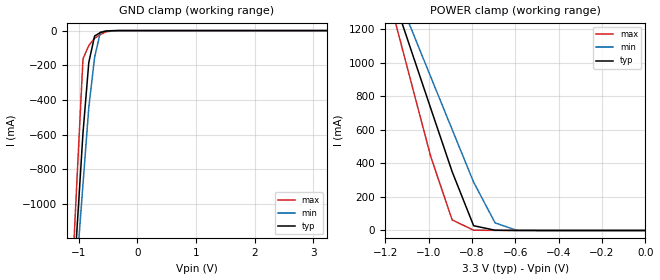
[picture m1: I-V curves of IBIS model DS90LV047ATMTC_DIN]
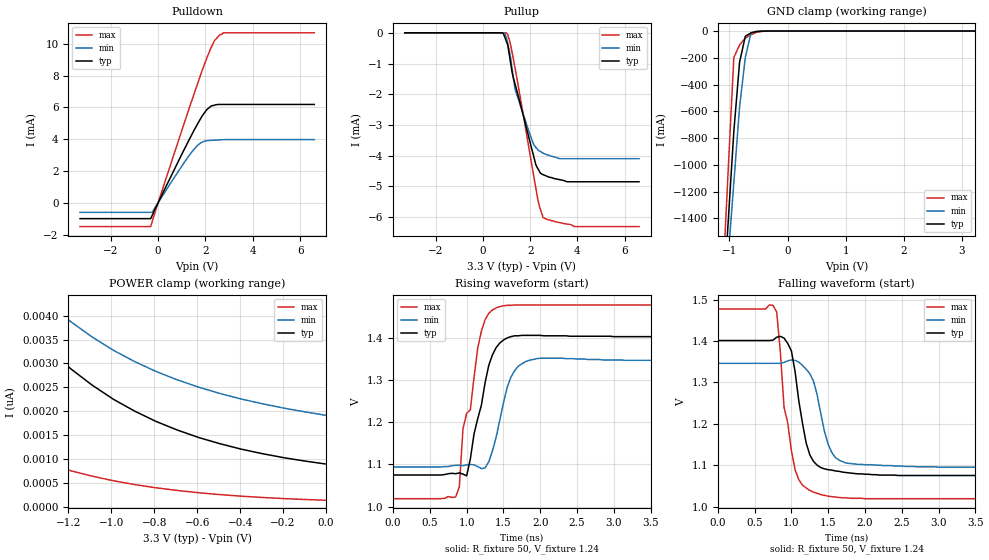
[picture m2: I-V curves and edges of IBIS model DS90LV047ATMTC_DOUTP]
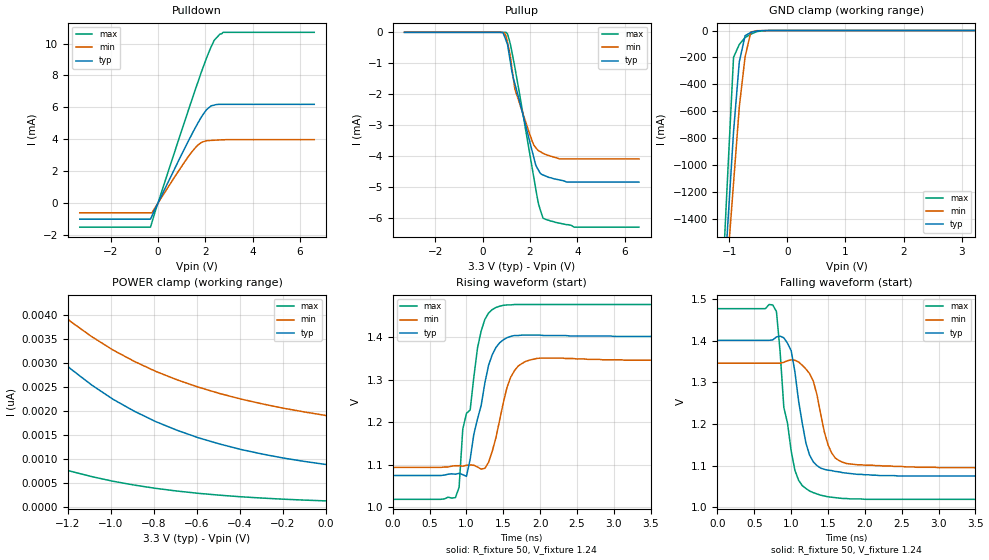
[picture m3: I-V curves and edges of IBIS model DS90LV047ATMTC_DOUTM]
|   National Semiconductor Corporation
|   Interface Products Group
|   IBIS Model of DS90LV047ATMTC
|   16L TSSOP Package
[IBIS Ver]   3.2
[File name]   ds90lv047atmtc.ibs
[File Rev]   1.2
[Date]   7/06/04
[Source]   File originated at National Semiconductor Corporation.
   Interface Group/Analog Division. All data based on
   Empirical Measurements(Bench).
[Notes]   File created by DAK.
   Rev 1.1: In Rising Falling Tables, changes Vref
   from 3.3v to 1.2v---milt
   Rev 1.2: a new model based on a spice model simulation
   data - dglisic
[Disclaimer]
(C) Copyright National Semiconductor Corporation 1994
                All rights reserved
     National Semiconductor Corporation hereby grants
the user of this IBIS model a non-exclusive, nontransferable
license to use this IBIS model under the following terms.
Before using this IBIS model, the user should read this
license.  If the user does not accept these terms,  the
IBIS model should be returned to National within 30 days.
     The user is granted this license only to use the
IBIS model and is not granted rights to sell, load, rent,
lease or license the IBIS model in whole or in part, or in
modified form to anyone other than user. User may modify
the IBIS model to suit its specific applications but rights
to derivative works and such modifications shall belong to
National.
     This IBIS model is provided on an "AS IS" basis and
National makes absolutely no warranty with respect to the
information contained herein.NATIONAL DISCLAIMS AND CUSTOMER
WAIVES ALL WARRANTIES, EXPRESS OR IMPLIED, INCLUDING
WARRANTIES OF MERCHANTABILITY OR FITNESS FOR A PARTICULAR
PURPOSE. The entire risk as to quality and performance is
with the Customer. ACCORDINGLY, IN NO EVENT SHALL THE
COMPANY BE LIABLE FOR ANY DAMAGES, WHETHER IN CONTRACT OR
TORT,INCLUDING ANY LOST PROFITS OR OTHER INCIDENTAL,
CONSEQUENTIAL, EXEMPLARY, OR PUNITIVE DAMAGES ARISING OUT
OF THE USE OR APPLICATION OF THE IBIS model provided in
this package.Further, National reserves the right to make
changes without notice to any product herein to improve
reliability, function, or design. National does not convey
any license under patent rights or any other intellectual
property rights, including those of third parties.
     National is not obligated to provide maintenance or support
for the licensed IBIS model.
Contact National at ATTN:INTERFACE APPLICATIONS/IBIS MODELS
                        5 Foden Road, M/S 03-03
                        South Porltand, ME 04106
                        (207) 541-6031
[Copyright]   Copyright 1994, National Semiconductor, All Rights Reserved
[Component]   DS90LV047ATMTC
[Manufacturer]  National Semiconductor Corp
[Package]
|   typ   min   max
R_pkg   91m   78m   115m
L_pkg   2.49n   2.15n   3.12n
C_pkg   0.086p   0.076p   0.109p
[Pin]   signal_name   model_name   R_pin   L_pin   C_pin
1   EN   DS90LV047ATMTC_EN   113m   3.053n   .108p
2   DIN1   DS90LV047ATMTC_DIN   91m   2.494n   .083p
3   DIN2   DS90LV047ATMTC_DIN   80m   2.218n   .079p
4   VDD   POWER   78m   2.157n   .076p
5   GND   GND   79m   2.183n   .077p
6   DIN3   DS90LV047ATMTC_DIN   84m   2.318n   .078p
7   DIN4   DS90LV047ATMTC_DIN   93m   2.550n   .083p
8   EN*   DS90LV047ATMTC_EN   108m   2.984n   .107p
9   DOUT4-   DS90LV047ATMTC_DOUTM  115m   3.121n   .109p
10   DOUT4+   DS90LV047ATMTC_DOUTP   93m   2.551n   .083p
11   DOUT3+   DS90LV047ATMTC_DOUTP   81m   2.237n   .079p
12   DOUT3-   DS90LV047ATMTC_DOUTM   78m   2.152n   .076p
13   DOUT2-   DS90LV047ATMTC_DOUTM   79m   2.173n   .076p
14   DOUT2+   DS90LV047ATMTC_DOUTP   83m   2.291n   .078p
15   DOUT1+   DS90LV047ATMTC_DOUTP   90m   2.480n   .083p
16   DOUT1-   DS90LV047ATMTC_DOUTM  106m   2.914n   .106p
[Diff_pin]   inv_pin   vdiff   tdelay_typ   tdelay_min   tdelay_max
| The '+' pin is Diff_pin and the '-' pin is the inv_pin
10   9   NA   0   0   0
11   12   NA   0   0   0
14   13   NA   0   0   0
15   16   NA   0   0   0
| Models and submodels in the file (4): DS90LV047ATMTC_DIN (Input), DS90LV047ATMTC_EN (Input), DS90LV047ATMTC_DOUTP (3-state), DS90LV047ATMTC_DOUTM (3-state)
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[Model]   DS90LV047ATMTC_DIN
Model_type Input
Vinh=2.0
Vinl=0.8
|   TYP   MIN   MAX
C_comp   3p   3p   3p
[Temperature Range] 25   85   -40
[Voltage Range]   3.30   3.00   3.60
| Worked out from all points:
|   GND clamp passes 1 mA (typ) near -0.44 V on its own axis
|   POWER clamp passes 1 mA (typ) near -0.65 V on its own axis
[GND Clamp]
|V(groundclamp)   I(typ)   I(min)   I(max)
-3.3V     -13.98A    -11.83A    -17.63A
-1.122V   -1.669A    -1.777A    -1.526A
-1.023V   -1.129A    -1.331A    -837mA
-924mV    -590.8mA   -886.6mA   -163.5mA
-825mV    -184mA     -443.7mA   -85.99mA
-726mV    -31.28mA   -153.9mA   -44.23mA
-627mV    -11.3mA    -9.068mA   -22.94mA
-528mV    -2.886mA   -1.123mA   -6.914mA
-330mV    -102.6uA   -43.64uA   -229.3uA
3.234V    1.855uA    1.074uA    3.371uA
[POWER Clamp]
|V(table)   I(typ)   I(min)   I(max)
-3.267V   9.584A     8.291A     11.75A
-1.188V   1.491A     1.55A      1.416A
-1.089V   1.11A      1.233A     928.2mA
-990mV    729.5mA    917.3mA    441.9mA
-891mV    350.5mA    602.3mA    63.05mA
-792mV    28.24mA    288.1mA    1.817mA
-693mV    1.617mA    45.27mA    453.5uA
-594mV    118.9uA    1.221mA    66.77uA
0V        857.1pA    1.83nA     132.3pA
[Model]   DS90LV047ATMTC_DOUTP
Model_type 3-state
Enable Active-High
Polarity Non-Inverting
Vref=1.21
Vmeas=1.21
Rref=50   | 100 Ohms Across Outputs OUTP and OUTM
Cref=0p
|   TYP   MIN   MAX
C_comp   2.5p   2p   3.5p
[Temperature Range] 25   85   -40
[Voltage Range]   3.30   3.00   3.60
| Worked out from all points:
|   slope of the pulldown table from 0 to 0.495 V, typ, clamps not added: 327 ohm
|   GND clamp passes 1 mA (typ) near -0.42 V on its own axis
|   falling waveform, R_fixture 50, V_fixture 1.24: 20-80 % time 184ps typ, 203ps min, 183ps max; typ from 1.4 V to 1.07 V
|   rising waveform, R_fixture 50, V_fixture 1.24: 20-80 % time 231ps typ, 209ps min, 240ps max; typ from 1.07 V to 1.4 V
[Pullup]
|Vtable   I(typ)   I(min)   I(max)
-3.3V     1.3nA      2.13nA     2.37nA
800mV     -1.95uA    -4.2uA     2.12nA
988mV     -265uA     -130uA     1.03nA
1.05V     -391uA     -339uA     -55.9uA
1.175V    -986uA     -810uA     -399uA
1.362V    -1.67mA    -1.84mA    -1.14mA
2.112V    -3.91mA    -3.57mA    -4.49mA
2.238V    -4.29mA    -3.73mA    -5.05mA
2.362V    -4.47mA    -3.84mA    -5.57mA
2.55V     -4.62mA    -3.92mA    -6.02mA
3.862V    -4.85mA    -4.1mA     -6.31mA
6.6V      -4.85mA    -4.1mA     -6.31mA
[Pulldown]
|V(pulldown)   I(typ)   I(min)   I(max)
-3.3V     -1mA       -603uA     -1.5mA
-313mV    -1mA       -603uA     -1.5mA
-250mV    -796uA     -603uA     -1.19mA
875mV     2.67mA     2.03mA     3.98mA
1.625V    4.85mA     3.55mA     7.31mA
1.812V    5.34mA     3.78mA     8.12mA
2V        5.75mA     3.89mA     8.88mA
2.25V     6.1mA      3.93mA     9.81mA
2.375V    6.14mA     3.94mA     10.2mA
2.625V    6.19mA     3.96mA     10.6mA
2.75V     6.19mA     3.97mA     10.7mA
6.6V      6.19mA     3.98mA     10.7mA
[GND Clamp]
|V(groundclamp)   I(typ)   I(min)   I(max)
-3.3V     -17.79A    -15.11A    -22.31A
-1.122V   -2.13A     -2.273A    -1.936A
-1.023V   -1.44A     -1.703A    -1.057A
-924mV    -751.6mA   -1.134A    -198.9mA
-825mV    -232.9mA   -567.3mA   -103.3mA
-726mV    -38.72mA   -196.7mA   -52.72mA
-627mV    -13.96mA   -11.49mA   -27.64mA
-528mV    -3.584mA   -1.412mA   -8.348mA
-330mV    -123.4uA   -52.37uA   -268.9uA
3.234V    857.1pA    2.099nA    93.12pA
[POWER Clamp]
|V(table)   I(typ)   I(min)   I(max)
-3.267V   46.62nA    40.29nA    20.01nA
-2.277V   12.92nA    12.82nA    4.536nA
-2.178V   11.26nA    11.38nA    3.87nA
-1.98V    8.554nA    9.002nA    2.81nA
-1.881V   7.457nA    8.027nA    2.393nA
-1.683V   5.654nA    6.409nA    1.724nA
-1.485V   4.298nA    5.176nA    1.239nA
-1.287V   3.289nA    4.247nA    889pA
-1.089V   2.545nA    3.553nA    639.8pA
-891mV    2.001nA    3.039nA    463.6pA
-495mV    1.32nA     2.372nA    253.7pA
0V        893pA      1.913nA    134.7pA
[Ramp]
|   TYP   MIN   MAX
dV/dt_r   196mV/.233ns   153mV/.244ns   276mV/.211ns
dV/dt_f   196mv/.190ns   153mV/.216ns   276mV/.180ns
R_load=50
[Falling Waveform]
R_fixture=50
V_fixture=1.24
V_fixture_min=1.22
V_fixture_max=1.25
|Time   V(typ)   V(min)   V(max)
0s        1.401V     1.346V     1.477V
800ps     1.409V     1.346V     1.47V
850ps     1.411V     1.346V     1.373V
900ps     1.407V     1.348V     1.24V
1ns       1.376V     1.354V     1.135V
1.1ns     1.256V     1.349V     1.065V
1.25ns    1.125V     1.321V     1.039V
1.5ns     1.089V     1.15V      1.025V
1.7ns     1.083V     1.108V     1.021V
4.95ns    1.075V     1.094V     1.019V
[Rising Waveform]
R_fixture=50
V_fixture=1.24
V_fixture_min=1.22
V_fixture_max=1.25
|Time   V(typ)   V(min)   V(max)
0s        1.075V     1.094V     1.019V
850ps     1.078V     1.098V     1.023V
900ps     1.08V      1.098V     1.047V
1ns       1.073V     1.099V     1.221V
1.05ns    1.113V     1.1V       1.229V
1.15ns    1.208V     1.095V     1.375V
1.4ns     1.376V     1.164V     1.47V
1.6ns     1.402V     1.306V     1.476V
1.85ns    1.405V     1.346V     1.477V
4.95ns    1.401V     1.346V     1.477V
[Model]   DS90LV047ATMTC_DOUTM
Model_type 3-state
Enable Active-High
Polarity Inverting
Vref=1.21
Vmeas=1.21
Rref=50   | 100 Ohms Across Outputs OUTP and OUTM
Cref=0p
|   TYP   MIN   MAX
C_comp   2.5p   2p   3.5p
[Temperature Range] 25   85   -40
[Voltage Range]   3.30   3.00   3.60
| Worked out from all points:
|   slope of the pulldown table from 0 to 0.495 V, typ, clamps not added: 327 ohm
|   GND clamp passes 1 mA (typ) near -0.42 V on its own axis
|   falling waveform, R_fixture 50, V_fixture 1.24: 20-80 % time 184ps typ, 203ps min, 183ps max; typ from 1.4 V to 1.07 V
|   rising waveform, R_fixture 50, V_fixture 1.24: 20-80 % time 231ps typ, 209ps min, 240ps max; typ from 1.07 V to 1.4 V
[Pullup]
|Vtable   I(typ)   I(min)   I(max)
-3.3V     1.3nA      2.13nA     2.37nA
800mV     -1.95uA    -4.2uA     2.12nA
988mV     -265uA     -130uA     1.03nA
1.05V     -391uA     -339uA     -55.9uA
1.175V    -986uA     -810uA     -399uA
1.362V    -1.67mA    -1.84mA    -1.14mA
2.112V    -3.91mA    -3.57mA    -4.49mA
2.238V    -4.29mA    -3.73mA    -5.05mA
2.362V    -4.47mA    -3.84mA    -5.57mA
2.55V     -4.62mA    -3.92mA    -6.02mA
3.862V    -4.85mA    -4.1mA     -6.31mA
6.6V      -4.85mA    -4.1mA     -6.31mA
[Pulldown]
|V(pulldown)   I(typ)   I(min)   I(max)
-3.3V     -1mA       -603uA     -1.5mA
-313mV    -1mA       -603uA     -1.5mA
-250mV    -796uA     -603uA     -1.19mA
875mV     2.67mA     2.03mA     3.98mA
1.625V    4.85mA     3.55mA     7.31mA
1.812V    5.34mA     3.78mA     8.12mA
2V        5.75mA     3.89mA     8.88mA
2.25V     6.1mA      3.93mA     9.81mA
2.375V    6.14mA     3.94mA     10.2mA
2.625V    6.19mA     3.96mA     10.6mA
2.75V     6.19mA     3.97mA     10.7mA
6.6V      6.19mA     3.98mA     10.7mA
[GND Clamp]
|V(groundclamp)   I(typ)   I(min)   I(max)
-3.3V     -17.79A    -15.11A    -22.31A
-1.122V   -2.13A     -2.273A    -1.936A
-1.023V   -1.44A     -1.703A    -1.057A
-924mV    -751.6mA   -1.134A    -198.9mA
-825mV    -232.9mA   -567.3mA   -103.3mA
-726mV    -38.72mA   -196.7mA   -52.72mA
-627mV    -13.96mA   -11.49mA   -27.64mA
-528mV    -3.584mA   -1.412mA   -8.348mA
-330mV    -123.4uA   -52.37uA   -268.9uA
3.234V    857.1pA    2.099nA    93.12pA
[POWER Clamp]
|V(table)   I(typ)   I(min)   I(max)
-3.267V   46.62nA    40.29nA    20.01nA
-2.277V   12.92nA    12.82nA    4.536nA
-2.178V   11.26nA    11.38nA    3.87nA
-1.98V    8.554nA    9.002nA    2.81nA
-1.881V   7.457nA    8.027nA    2.393nA
-1.683V   5.654nA    6.409nA    1.724nA
-1.485V   4.298nA    5.176nA    1.239nA
-1.287V   3.289nA    4.247nA    889pA
-1.089V   2.545nA    3.553nA    639.8pA
-891mV    2.001nA    3.039nA    463.6pA
-495mV    1.32nA     2.372nA    253.7pA
0V        893pA      1.913nA    134.7pA
[Ramp]
|   TYP   MIN   MAX
dV/dt_r   196mV/.233ns   153mV/.244ns   276mV/.211ns
dV/dt_f   196mv/.190ns   153mV/.216ns   276mV/.180ns
R_load=50
[Falling Waveform]
R_fixture=50
V_fixture=1.24
V_fixture_min=1.22
V_fixture_max=1.25
|Time   V(typ)   V(min)   V(max)
0s        1.401V     1.346V     1.477V
800ps     1.409V     1.346V     1.47V
850ps     1.411V     1.346V     1.373V
900ps     1.407V     1.348V     1.24V
1ns       1.376V     1.354V     1.135V
1.1ns     1.256V     1.349V     1.065V
1.25ns    1.125V     1.321V     1.039V
1.5ns     1.089V     1.15V      1.025V
1.7ns     1.083V     1.108V     1.021V
4.95ns    1.075V     1.094V     1.019V
[Rising Waveform]
R_fixture=50
V_fixture=1.24
V_fixture_min=1.22
V_fixture_max=1.25
|Time   V(typ)   V(min)   V(max)
0s        1.075V     1.094V     1.019V
850ps     1.078V     1.098V     1.023V
900ps     1.08V      1.098V     1.047V
1ns       1.073V     1.099V     1.221V
1.05ns    1.113V     1.1V       1.229V
1.15ns    1.208V     1.095V     1.375V
1.4ns     1.376V     1.164V     1.47V
1.6ns     1.402V     1.306V     1.476V
1.85ns    1.405V     1.346V     1.477V
4.95ns    1.401V     1.346V     1.477V
